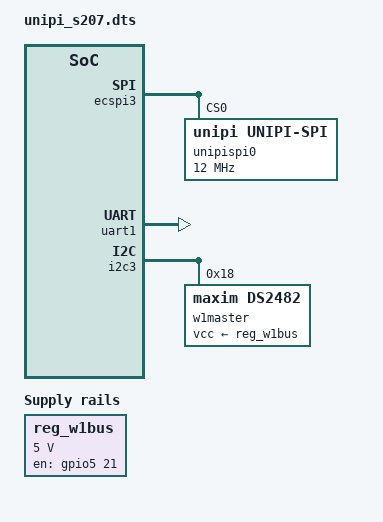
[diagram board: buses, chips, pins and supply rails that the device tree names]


/dts-v1/;
/plugin/;
/ {
	compatible = "unipi,zulu";

	fragment@0 {
		target = <&ecspi3>;
		__overlay__ {
			status = "okay";
			#address-cells = <1>;
			#size-cells = <0>;unipispi0: unipispi@0 {
				compatible = "unipi,unipi-spi";
				reg = <0>;
				spi-max-frequency = <12000000>;
				status = "okay";
				modbus-address = <1>;
				#address-cells = <1>;
				#size-cells = <0>;
				iogroup1: iogroup1 {
					reg = <1>;
					compatible = "unipi,unipi-mfd", "iogroup";
					fw_variant = <0x0110>;
					fw_name = "E_8Di8Ro-1";
					board_name = "E_8Di8Ro";
					sys_board_name = "E_8Di8Ro";
					cycle_counter = <1023>;
					master_watchdog_enable = <2>;

					di {
						compatible = "unipi,gpio-di";
						gpio-controller;
						#gpio-cells = <2>;
						gpio-line-names = "DI1_1","DI1_2","DI1_3","DI1_4","DI1_5","DI1_6","DI1_7","DI1_8";
						ngpio = <8>;
						value-reg = <0>;
						debounce-reg = <1010>;
						counter-reg = <3>;
					};
					do {
						compatible = "unipi,gpio-ro";
						ngpio = <8>;
						value-coil = <0>;
						gpio-controller;
						#gpio-cells = <2>;
						gpio-line-names = "RO1_1","RO1_2","RO1_3","RO1_4","RO1_5","RO1_6","RO1_7","RO1_8";
					};
					sysleds0:sysled {
						compatible = "unipi,leds";
						coil-range = <16 6>;
						#address-cells = <1>;
						#size-cells = <0>;
						label-prefix = "unipi:green:sysled-x";
					};
				};
			};
		
		};
	};

	fragment@1 {
		target = <&usbotg1>;
		__overlay__ {
			#address-cells = <1>;
			#size-cells = <0>;
			usbslot1: usbslot1@1 {
				reg = <1>;
			};
		};
	};

	
	fragment@10 {
		target = <&uart1>;
		__overlay__ {
			status = "okay";
			linux,rs485-enabled-at-boot-time;
		};
	};
	fragment@13 {
		target-path = "/";
		__overlay__ {
			reg_w1bus: regulator-w1bus {
				compatible = "regulator-fixed";
				regulator-name = "w1-vcc";
				enable-active-high;
				gpios = <&gpio5 21 0>;
				regulator-min-microvolt = <5000000>;
				regulator-max-microvolt = <5000000>;
				startup-delay-us = <100000>; /* experimentally determined */
			};
		};
	};
	fragment@14 {
		target = <&i2c3>;
		__overlay__ {
			w1master:w1master@18 {
				compatible = "maxim,ds2482";
				reg = <0x18>;
				status = "okay";
				vcc-supply = <&reg_w1bus>;
			};
		};
	};

};


&iogroup1 {
	pinctrl-names = "default";
	pinctrl-0 = <&pinctrl_slotirq0>; 
	interrupt-parent = <&gpio4>;
	interrupts = <23 1>; /* EDGE RISING*/
};







&sysleds0 {
	rs485-1-txled@4 {
		reg = <4>;
		linux,default-trigger = "ttymxc0-tx";
	};
	rs485-1-rxled@5 {
		reg = <5>;
		linux,default-trigger = "ttymxc0-rx";
	};
};
